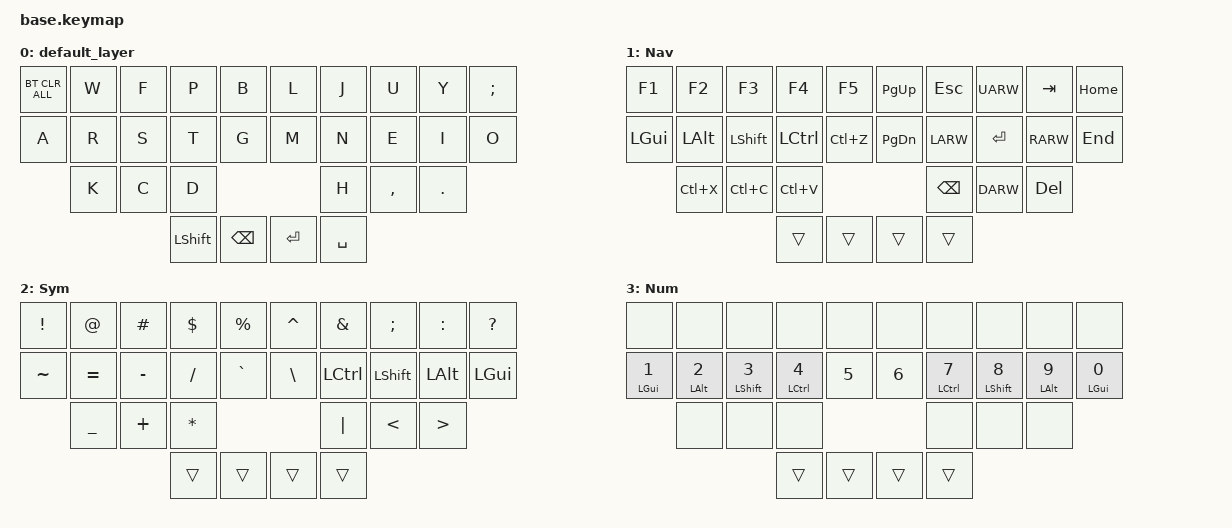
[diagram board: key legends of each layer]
/*
 * Copyright (c) 2020 The ZMK Contributors
 *
 * SPDX-License-Identifier: MIT
 */

#include <behaviors.dtsi>
#include <dt-bindings/zmk/keys.h>
#include <dt-bindings/zmk/bt.h>

/* Layers */
#define DEF_L 0
#define NAV_L 1
#define SYM_L 2
#define NUM_L 3
#define MED_L 4

/* Shortcuts */
#define CUT LC(X)
#define COPY LC(C)
#define PASTE LC(V)
#define UNDO LC(Z)
#define SLALL LC(A)

/* Key Position Groups */
#define KEYS_L 0 1 2 3 4 10 11 12 13 14 20 21 22  // left-hand keys
#define KEYS_R 5 6 7 8 9 15 16 17 18 19 23 24 25  // right-hand keys
#define THUMBS 26 27 28 29                        // thumb keys

/* Behavior Settings */
&sk {
  release-after-ms = <250>;
  quick-release;
};

&sl {
  release-after-ms = <250>;
};

/ {
    behaviors {
        mtl: mod_tap_left {
            compatible = "zmk,behavior-hold-tap";
            label = "MOD_TAP_LEFT";
            #binding-cells = <2>;
            flavor = "balanced";
            tapping-term-ms = <280>;
            quick-tap-ms = <175>;
            bindings = <&kp>, <&kp>;
            hold-trigger-key-positions = <KEYS_R THUMBS>;
            hold-trigger-on-release;
            global-quick-tap;
        };
        mtr: mod_tap_right {
            compatible = "zmk,behavior-hold-tap";
            label = "MOD_TAP_RIGHT";
            #binding-cells = <2>;
            flavor = "balanced";
            tapping-term-ms = <280>;
            quick-tap-ms = <175>;
            bindings = <&kp>, <&kp>;
            hold-trigger-key-positions = <KEYS_L THUMBS>;
            hold-trigger-on-release;
            global-quick-tap;
        };
    };

    conditional_layers {
        compatible = "zmk,conditional-layers";
        tri_layer {
            if-layers = <NAV_L SYM_L>;
            then-layer = <NUM_L>;
        };
    };

    combos {
        compatible = "zmk,combos";

        /*                KEY POSITIONS

             0   1   2   3   4      5   6   7   8   9
            10  11  12  13  14     15  16  17  18  19
                20  21  22             23  24  25
                        26  27     28  29              */

         /* Letters */
        v { key-positions = <1 2>; bindings = <&kp V>; layers = <DEF_L>; };
        q { key-positions = <2 3>; bindings = <&kp Q>; layers = <DEF_L>; };
        z { key-positions = <20 21>; bindings = <&kp Z>; layers = <DEF_L>; };

        /* Brackets */
        lbkt { key-positions = <1 11>; bindings = <&kp LBKT>; layers = <DEF_L SYM_L NUM_L>; };
        rbkt { key-positions = <8 18>; bindings = <&kp RBKT>; layers = <DEF_L SYM_L NUM_L>; };
        lpar { key-positions = <2 12>; bindings = <&kp LPAR>; layers = <DEF_L SYM_L NUM_L>; };
        rpar { key-positions = <7 17>; bindings = <&kp RPAR>; layers = <DEF_L SYM_L NUM_L>; };
        lbrc { key-positions = <3 13>; bindings = <&kp LBRC>; layers = <DEF_L SYM_L NUM_L>; };
        rbrc { key-positions = <6 16>; bindings = <&kp RBRC>; layers = <DEF_L SYM_L NUM_L>; };

        /* Convenience */
        del { key-positions = <4 14>; bindings = <&kp DEL>; };
        esc { key-positions = <5 15>; bindings = <&kp ESC>; };
        slall { key-positions = <20 21>; bindings = <&kp SLALL>; layers = <NAV_L>; };
    };

    keymap {
        compatible = "zmk,keymap";
        default_layer {
            bindings = <
                // TODO: change the clear all to a different key
                &bt BT_CLR_ALL     &kp W     &kp F     &kp P     &kp B  &kp L &kp J     &kp U     &kp Y     &kp SEMI
                &kp A   &kp R     &kp S          &kp T     &kp G   &kp M  &kp N   &kp E     &kp I     &kp O
                          &kp K     &kp C     &kp D                           &kp H     &kp COMMA &kp DOT
                        //   TODO: add layre switcher
                                    &kp LEFT_SHIFT &kp BACKSPACE             &kp ENTER &kp SPACE
            >;
        };
        nav_layer {
            label = "Nav";
            bindings = <
                &kp F1    &kp F2    &kp F3    &kp F4    &kp F5      &kp PG_UP &kp ESC   &kp UARW  &kp TAB   &kp HOME
                &kp LGUI  &kp LALT  &kp LSHFT &kp LCTRL &kp UNDO    &kp PG_DN &kp LARW  &kp ENTER &kp RARW  &kp END
                          &kp CUT   &kp COPY  &kp PASTE                       &kp BSPC  &kp DARW  &kp DEL
                                              &trans    &trans      &trans    &trans
            >;
        };
        sym_layer {
            label = "Sym";
            bindings = <
                &kp EXCL  &kp AT    &kp HASH  &kp DLLR  &kp PRCNT   &kp CARET &kp AMPS  &kp SEMI  &kp COLON &kp QMARK
                &kp TILDE &kp EQUAL &kp MINUS &kp FSLH  &kp GRAVE   &kp BSLH  &kp LCTRL &kp LSHFT &kp LALT  &kp LGUI
                          &kp UNDER &kp PLUS  &kp ASTRK                       &kp PIPE  &kp LT    &kp GT
                                              &trans    &trans      &trans    &trans
            >;
        };
        num_layer {
            label = "Num";
            bindings = <
                &none     &none     &none     &none     &none       &none     &none     &none     &none     &none 
                &mtl LGUI N1 &mtl LALT N2 &mtl LSHFT N3 &mtl LCTRL N4 &kp N5 &kp N6 &mtr LCTRL N7 &mtr LSHFT N8 &mtr LALT N9 &mtr LGUI N0
                          &none     &none     &none                           &none     &none     &none
                                              &trans    &trans      &trans    &trans
            >;
        };
    };
};
